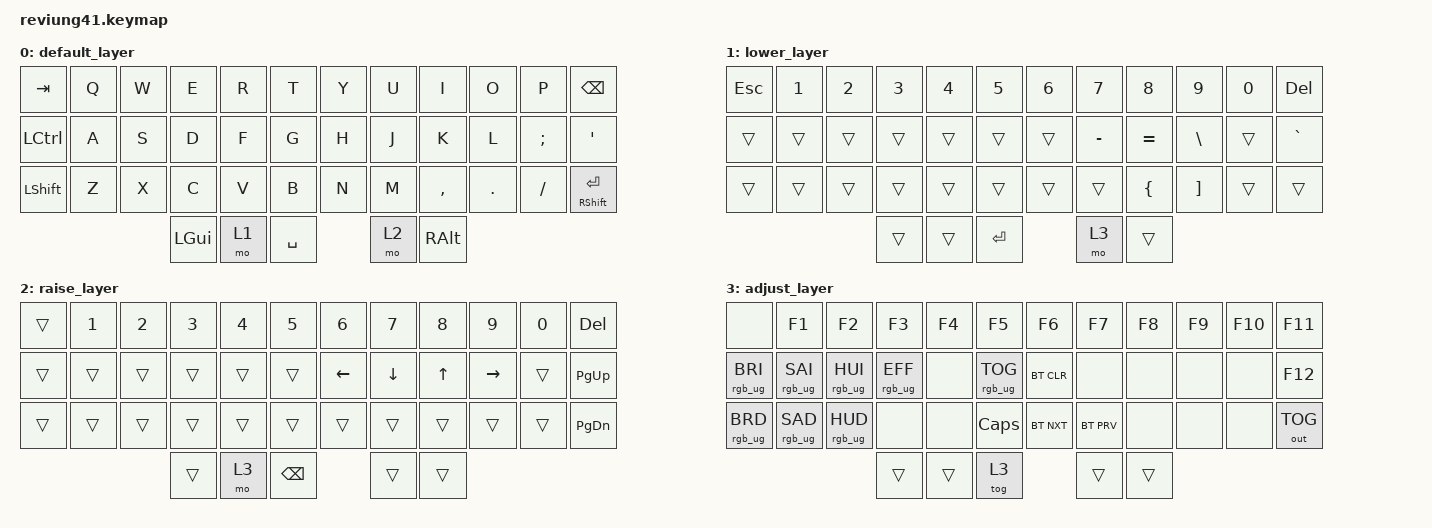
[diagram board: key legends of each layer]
/*
 * Copyright (c) 2020 The ZMK Contributors
 *
 * SPDX-License-Identifier: MIT
 */

#include <behaviors.dtsi>
#include <dt-bindings/zmk/keys.h>
#include <dt-bindings/zmk/bt.h>
#include <dt-bindings/zmk/rgb.h>
#include <dt-bindings/zmk/outputs.h>

/ {
        keymap {
                compatible = "zmk,keymap";

                default_layer {
                        bindings = <
   &kp TAB   &kp Q &kp W &kp E &kp R &kp T   &kp Y &kp U  &kp I     &kp O   &kp P    &kp BSPC
   &kp LCTRL &kp A &kp S &kp D &kp F &kp G   &kp H &kp J  &kp K     &kp L   &kp SEMI &kp SQT
   &kp LSHFT &kp Z &kp X &kp C &kp V &kp B   &kp N &kp M  &kp COMMA &kp DOT &kp FSLH &mt RSHFT RET
                        &kp LGUI  &mo 1 &kp SPACE &mo 2  &kp RALT
                        >;
                };

                lower_layer {
		  bindings = <
   &kp ESC &kp N1 &kp N2  &kp N3  &kp N4 &kp N5           &kp N6    &kp N7    &kp N8    &kp N9   &kp N0  &kp DEL
   &trans  &trans &trans  &trans  &trans &trans           &trans    &kp MINUS &kp EQUAL &kp BSLH &trans  &kp GRAVE
   &trans  &trans &trans  &trans  &trans &trans           &trans    &trans    &kp LBRC  &kp RBKT &trans  &trans
                                  &trans &trans  &kp RET  &mo 3     &trans
                        >;
                };

                raise_layer {
		  bindings = <
			  &trans  &kp N1 &kp N2  &kp N3  &kp N4  &kp N5           &kp N6   &kp N7    &kp N8  &kp N9    &kp N0  &kp DEL
			  &trans  &trans &trans  &trans  &trans  &trans           &kp LEFT &kp DOWN  &kp UP  &kp RIGHT &trans  &kp PG_UP 
			  &trans  &trans &trans  &trans  &trans  &trans           &trans   &trans    &trans  &trans    &trans  &kp PG_DN
			                         &trans      &mo 3       &kp BSPC        &trans      &trans
                        >;
                };

                adjust_layer {
		  bindings = <
			  &none  &kp F1 &kp F2  &kp F3  &kp F4  &kp F5                                                     &kp F6 &kp F7 &kp F8 &kp F9 &kp F10 &kp F11
			  &rgb_ug RGB_BRI  &rgb_ug RGB_SAI  &rgb_ug RGB_HUI   &rgb_ug RGB_EFF   &none   &rgb_ug RGB_TOG    &bt BT_CLR  &none       &none  &none  &none   &kp F12
			  &rgb_ug RGB_BRD  &rgb_ug RGB_SAD  &rgb_ug RGB_HUD   &none             &none   &kp CAPS           &bt BT_NXT  &bt BT_PRV  &none  &none  &none   &out OUT_TOG
			                                                                        &trans  &trans    &tog 3   &trans &trans
                        >;
                };
        };
};

